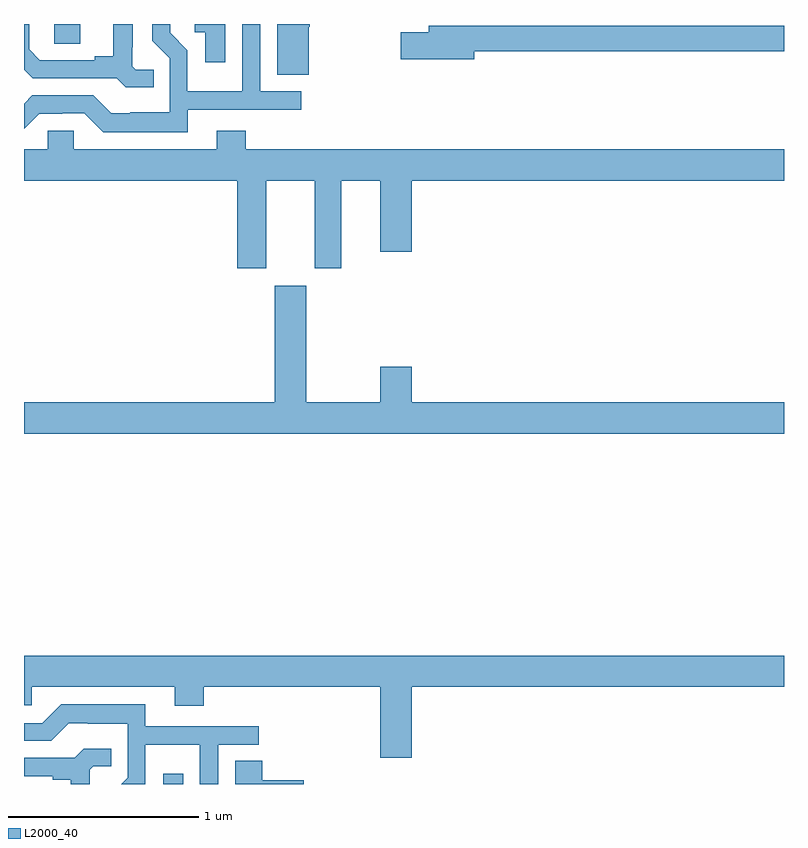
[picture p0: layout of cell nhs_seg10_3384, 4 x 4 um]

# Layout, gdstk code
import gdstk
lib = gdstk.Library(unit=1e-6, precision=1e-09)
def R(c, l, rs):  # rectangles x0, y0, x1, y1
    for r in rs: c.add(gdstk.rectangle(r[:2], r[2:], *l))
def P(c, l, *ps):  # polygons
    for p in ps: c.add(gdstk.Polygon(p, *l))
L2000_40 = (2000, 40)

nhs_seg10_3384 = lib.new_cell('nhs_seg10_3384')
R(nhs_seg10_3384, L2000_40, [(295.733,1270.5,295.837,1270.555), (295.158,1274.395,295.297,1274.5)])
P(nhs_seg10_3384, L2000_40, [(296.059,1274.5),(295.898,1274.5),(295.898,1274.457),(295.955,1274.457),(295.955,1274.298),(296.059,1274.298)],
  [(295.861,1274.049),(296.458,1274.049),(296.458,1274.145),(296.244,1274.145),(296.244,1274.5),(296.148,1274.5),(296.148,1274.146),(295.86,1274.146),(295.86,1274.362),(295.769,1274.454),(295.769,1274.5),(295.674,1274.5),(295.674,1274.412),(295.767,1274.319),(295.767,1274.035),(295.558,1274.035),(295.558,1274.031),(295.458,1274.031),(295.365,1274.124),(295.044,1274.124),(295,1274.08),(295,1273.948),(295.08,1274.028),(295.2,1274.028),(295.2,1274.031),(295.317,1274.031),(295.417,1273.931),(295.861,1273.931)],
  [(295.682,1274.259),(295.587,1274.259),(295.569,1274.277),(295.569,1274.377),(295.573,1274.377),(295.573,1274.5),(295.469,1274.5),(295.469,1274.33),(295.373,1274.33),(295.373,1274.31),(295.084,1274.31),(295.027,1274.367),(295.027,1274.5),(295,1274.5),(295,1274.26),(295.046,1274.214),(295.488,1274.214),(295.536,1274.167),(295.682,1274.167)],
  [(296.499,1274.486),(296.504,1274.486),(296.504,1274.5),(296.333,1274.5),(296.333,1274.234),(296.499,1274.234)],
  [(297.37,1274.356),(299,1274.356),(299,1274.492),(297.131,1274.492),(297.131,1274.456),(296.982,1274.456),(296.982,1274.314),(297.37,1274.314)],
  [(296.168,1273.939),(296.015,1273.939),(296.015,1273.84),(295.263,1273.84),(295.263,1273.938),(295.125,1273.938),(295.125,1273.84),(295,1273.84),(295,1273.676),(296.123,1273.676),(296.123,1273.215),(296.275,1273.215),(296.275,1273.676),(296.531,1273.676),(296.531,1273.215),(296.671,1273.215),(296.671,1273.676),(296.876,1273.676),(296.876,1273.302),(297.04,1273.302),(297.04,1273.676),(299,1273.676),(299,1273.84),(296.168,1273.84)],
  [(299,1272.508),(297.04,1272.508),(297.04,1272.697),(296.876,1272.697),(296.876,1272.508),(296.485,1272.508),(296.485,1273.123),(296.321,1273.123),(296.321,1272.508),(295,1272.508),(295,1272.344),(299,1272.344)],
  [(297.04,1271.012),(299,1271.012),(299,1271.176),(295,1271.176),(295,1270.914),(295.041,1270.914),(295.041,1271.012),(295.793,1271.012),(295.793,1270.913),(295.946,1270.913),(295.946,1271.012),(296.876,1271.012),(296.876,1270.638),(297.04,1270.638)],
  [(295.638,1270.706),(295.926,1270.706),(295.926,1270.5),(296.022,1270.5),(296.022,1270.707),(296.236,1270.707),(296.236,1270.803),(295.639,1270.803),(295.639,1270.921),(295.195,1270.921),(295.095,1270.821),(295,1270.821),(295,1270.728),(295.143,1270.728),(295.236,1270.821),(295.336,1270.821),(295.336,1270.817),(295.545,1270.817),(295.545,1270.533),(295.512,1270.5),(295.638,1270.5)],
  [(295.347,1270.575),(295.365,1270.593),(295.46,1270.593),(295.46,1270.685),(295.314,1270.685),(295.266,1270.638),(295,1270.638),(295,1270.542),(295.151,1270.542),(295.151,1270.522),(295.247,1270.522),(295.247,1270.5),(295.347,1270.5)],
  [(296.473,1270.52),(296.255,1270.52),(296.255,1270.622),(296.111,1270.622),(296.111,1270.5),(296.473,1270.5)])

lib.write_gds('nhs_seg10_3384.gds')
